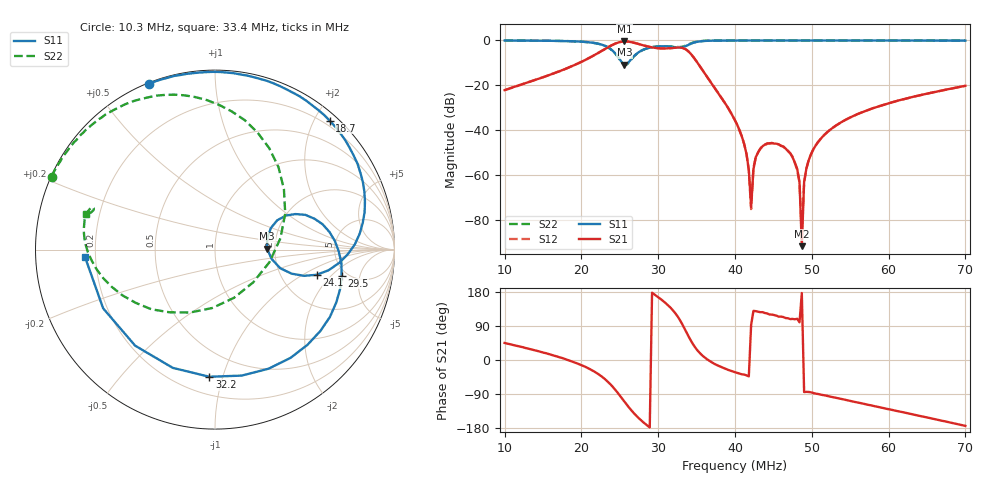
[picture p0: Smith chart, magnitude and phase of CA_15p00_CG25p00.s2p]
#  HZ  S  RI  R  50.00
! Rohde & Schwarz ZVT8 8Ports - Version 4.11 - 1300.0000k08 SN: 100242
! Date: 2026-07-31 14:20:55
! Measurements: S11 S21 S12 S22
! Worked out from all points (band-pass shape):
!   201 points, 10 MHz to 70 MHz, reference 50 ohm
!   highest |S21| = -0.43 dB at 25.6 MHz (marker M1); lowest = -91.8 dB at 48.7 MHz (marker M2)
!   |S21| within 3 dB of the highest: 23.26 MHz to 29.87 MHz (6.608 MHz wide, 24.9 % of centre); 31.65 MHz to 33.23 MHz (1.581 MHz wide, 4.87 % of centre)
!   lowest |S11| = -10.8 dB at 25.6 MHz (marker M3), VSWR 1.82, Z = 90.8 + j1.09 ohm
!   |S11| at or under -10 dB: 25.34 MHz to 26.05 MHz (717.2 kHz wide, 2.79 % of centre)
!   |S22| runs from -11.0 to 0.0 dB; largest |S21 - S12| = 0.0034
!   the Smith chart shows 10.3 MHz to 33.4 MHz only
!   S11 on the Smith chart (normalised r, x): 10.3 MHz: 0.00, +0.68; 18.7 MHz: 0.12, +2.22; 24.1 MHz: 3.18, -1.35; 29.5 MHz: 4.47, -2.70; 32.2 MHz: 0.32, -0.91; 33.4 MHz: 0.16, -0.03
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1e7  -0.4013 0.9122  0.055 0.055  0.0549 0.055  -0.9156 0.3933
1.03e7  -0.3686 0.9244  0.0586 0.0557  0.0586 0.0557  -0.9087 0.4067
1.87e7  0.6389 0.7182  0.2638 -0.0144  0.2629 -0.0149  -0.5629 0.7788
2.02e7  0.7721 0.525  0.3338 -0.0909  0.3332 -0.0904  -0.4097 0.8394
2.41e7  0.5667 -0.1403  0.2595 -0.7617  0.2593 -0.7603  0.3537 0.4598
2.56e7  0.2896 0.00552  -0.3215 -0.8958  -0.3209 -0.8944  0.2129 -0.1827
2.95e7  0.7058 -0.1453  -0.6823 0.0816  -0.6815 0.0813  -0.7208 0.0279
3.01e7  0.6756 -0.2947  -0.6432 0.183  -0.6432 0.1812  -0.7314 0.1046
3.22e7  -0.0312 -0.7085  -0.3853 0.5706  -0.3854 0.5705  -0.6797 0.235
3.34e7  -0.7244 -0.0407  0.0669 0.6564  0.0672 0.6555  -0.7184 0.1981
3.49e7  0.1351 0.9079  0.3089 0.1843  0.308 0.184  -0.8672 0.3304
4e7  0.9342 -0.3469  0.0139 -0.00877  0.014 -0.0088  -0.6988 0.713
4.15e7  0.8187 -0.5691  0.00219 -0.00187  0.00223 -0.00194  -0.6394 0.7659
4.21e7  0.7626 -0.6437  -8.38e-06 0.00019  -8.9e-05 0.000148  -0.6171 0.7844
4.27e7  0.7015 -0.708  -0.00155 0.00192  -0.00151 0.00189  -0.5942 0.8028
4.54e7  0.3961 -0.9153  -0.00225 0.00442  -0.00221 0.00446  -0.493 0.8681
4.81e7  0.0658 -0.9958  -0.000436 0.00128  -0.000356 0.00123  -0.3925 0.9173
4.87e7  -0.00797 -0.9982  -2.56e-05 1.45e-06  -3.93e-05 3.07e-05  -0.37 0.9264
4.9e7  -0.0447 -0.9981  6.5e-05 -0.000698  -2.43e-05 -0.000666  -0.3591 0.9303
5.02e7  -0.1867 -0.9808  0.000182 -0.00373  0.0002 -0.00368  -0.314 0.9464
6.01e7  -0.9675 -0.2339  -0.0258 -0.0306  -0.0257 -0.0306  0.0632 0.9944
7e7  -0.6212 0.7732  -0.0967 -0.0104  -0.0964 -0.0103  0.4402 0.8899
